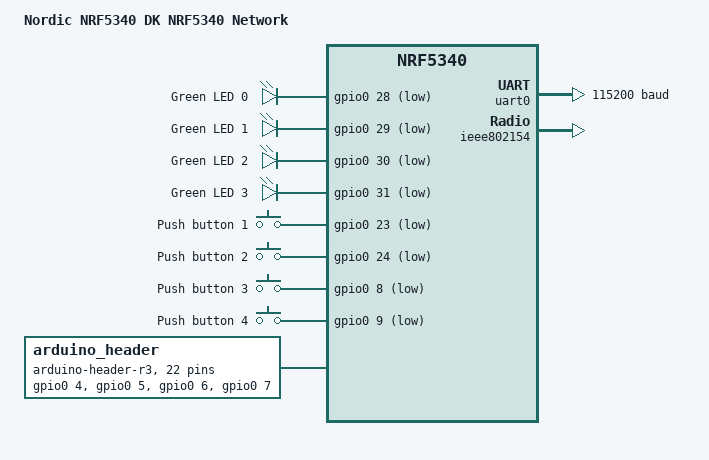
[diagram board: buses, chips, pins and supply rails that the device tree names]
/*
 * Copyright (c) 2020 Nordic Semiconductor ASA
 *
 * SPDX-License-Identifier: Apache-2.0
 */

/dts-v1/;
#include <nordic/nrf5340_cpunet_qkaa.dtsi>
#include "nrf5340dk_nrf5340_cpunet-pinctrl.dtsi"
#include <zephyr/dt-bindings/input/input-event-codes.h>

/ {
	model = "Nordic NRF5340 DK NRF5340 Network";
	compatible = "nordic,nrf5340-dk-nrf5340-cpunet";

	chosen {
		zephyr,console = &uart0;
		zephyr,shell-uart = &uart0;
		zephyr,uart-mcumgr = &uart0;
		zephyr,bt-mon-uart = &uart0;
		zephyr,bt-c2h-uart = &uart0;
		zephyr,bt-hci-ipc = &ipc0;
		nordic,802154-spinel-ipc = &ipc0;
		zephyr,sram = &sram1;
		zephyr,flash = &flash1;
		zephyr,code-partition = &slot0_partition;
		zephyr,ieee802154 = &ieee802154;
	};

	leds {
		compatible = "gpio-leds";
		led0: led_0 {
			gpios = <&gpio0 28 GPIO_ACTIVE_LOW>;
			label = "Green LED 0";
		};
		led1: led_1 {
			gpios = <&gpio0 29 GPIO_ACTIVE_LOW>;
			label = "Green LED 1";
		};
		led2: led_2 {
			gpios = <&gpio0 30 GPIO_ACTIVE_LOW>;
			label = "Green LED 2";
		};
		led3: led_3 {
			gpios = <&gpio0 31 GPIO_ACTIVE_LOW>;
			label = "Green LED 3";
		};
	};

	buttons {
		compatible = "gpio-keys";
		button0: button_0 {
			gpios = <&gpio0 23 (GPIO_PULL_UP | GPIO_ACTIVE_LOW)>;
			label = "Push button 1";
			zephyr,code = <INPUT_KEY_0>;
		};
		button1: button_1 {
			gpios = <&gpio0 24 (GPIO_PULL_UP | GPIO_ACTIVE_LOW)>;
			label = "Push button 2";
			zephyr,code = <INPUT_KEY_1>;
		};
		button2: button_2 {
			gpios = <&gpio0 8 (GPIO_PULL_UP | GPIO_ACTIVE_LOW)>;
			label = "Push button 3";
			zephyr,code = <INPUT_KEY_2>;
		};
		button3: button_3 {
			gpios = <&gpio0 9 (GPIO_PULL_UP | GPIO_ACTIVE_LOW)>;
			label = "Push button 4";
			zephyr,code = <INPUT_KEY_3>;
		};
	};

	arduino_header: connector {
		compatible = "arduino-header-r3";
		#gpio-cells = <2>;
		gpio-map-mask = <0xffffffff 0xffffffc0>;
		gpio-map-pass-thru = <0 0x3f>;
		gpio-map = <0 0 &gpio0 4 0>,	/* A0 */
			   <1 0 &gpio0 5 0>,	/* A1 */
			   <2 0 &gpio0 6 0>,	/* A2 */
			   <3 0 &gpio0 7 0>,	/* A3 */
			   <4 0 &gpio0 25 0>,	/* A4 */
			   <5 0 &gpio0 26 0>,	/* A5 */
			   <6 0 &gpio1 0 0>,	/* D0 */
			   <7 0 &gpio1 1 0>,	/* D1 */
			   <8 0 &gpio1 4 0>,	/* D2 */
			   <9 0 &gpio1 5 0>,	/* D3 */
			   <10 0 &gpio1 6 0>,	/* D4 */
			   <11 0 &gpio1 7 0>,	/* D5 */
			   <12 0 &gpio1 8 0>,	/* D6 */
			   <13 0 &gpio1 9 0>,	/* D7 */
			   <14 0 &gpio1 10 0>,	/* D8 */
			   <15 0 &gpio1 11 0>,	/* D9 */
			   <16 0 &gpio1 12 0>,	/* D10 */
			   <17 0 &gpio1 13 0>,	/* D11 */
			   <18 0 &gpio1 14 0>,	/* D12 */
			   <19 0 &gpio1 15 0>,	/* D13 */
			   <20 0 &gpio1 2 0>,	/* D14 */
			   <21 0 &gpio1 3 0>;	/* D15 */
	};

	/* These aliases are provided for compatibility with samples */
	aliases {
		led0 = &led0;
		led1 = &led1;
		led2 = &led2;
		led3 = &led3;
		sw0 = &button0;
		sw1 = &button1;
		sw2 = &button2;
		sw3 = &button3;
		bootloader-led0 = &led0;
		mcuboot-button0 = &button0;
		mcuboot-led0 = &led0;
		watchdog0 = &wdt0;
	};
};

&gpiote {
	status = "okay";
};

&gpio0 {
	status = "okay";
};

&gpio1 {
	status = "okay";
};

&uart0 {
	status = "okay";
	current-speed = <115200>;
	pinctrl-0 = <&uart0_default>;
	pinctrl-1 = <&uart0_sleep>;
	pinctrl-names = "default", "sleep";
};

arduino_serial: &uart0{};

arduino_i2c: &i2c0 {
	compatible = "nordic,nrf-twim";
	/* Cannot be used together with uart0. */
	/* status = "okay"; */
	pinctrl-0 = <&i2c0_default>;
	pinctrl-1 = <&i2c0_sleep>;
	pinctrl-names = "default", "sleep";
};

arduino_spi: &spi0 {
	compatible = "nordic,nrf-spim";
	/* Cannot be used together with uart0. */
	/* status = "okay"; */
	cs-gpios = <&arduino_header 16 GPIO_ACTIVE_LOW>; /* D10 */
	pinctrl-0 = <&spi0_default>;
	pinctrl-1 = <&spi0_sleep>;
	pinctrl-names = "default", "sleep";
};

&flash1 {

	partitions {
		compatible = "fixed-partitions";
		#address-cells = <1>;
		#size-cells = <1>;

		boot_partition: partition@0 {
			label = "mcuboot";
			reg = <0x00000000 0xc000>;
		};
		slot0_partition: partition@c000 {
			label = "image-0";
			reg = <0x0000C000 0x17000>;
		};
		slot1_partition: partition@23000 {
			label = "image-1";
			reg = <0x00023000 0x17000>;
		};
		storage_partition: partition@3a000 {
			label = "storage";
			reg = <0x0003a000 0x6000>;
		};
	};
};

&ieee802154 {
	status = "okay";
};

/* Include shared RAM configuration file */
#include "nrf5340_shared_sram_planning_conf.dtsi"
